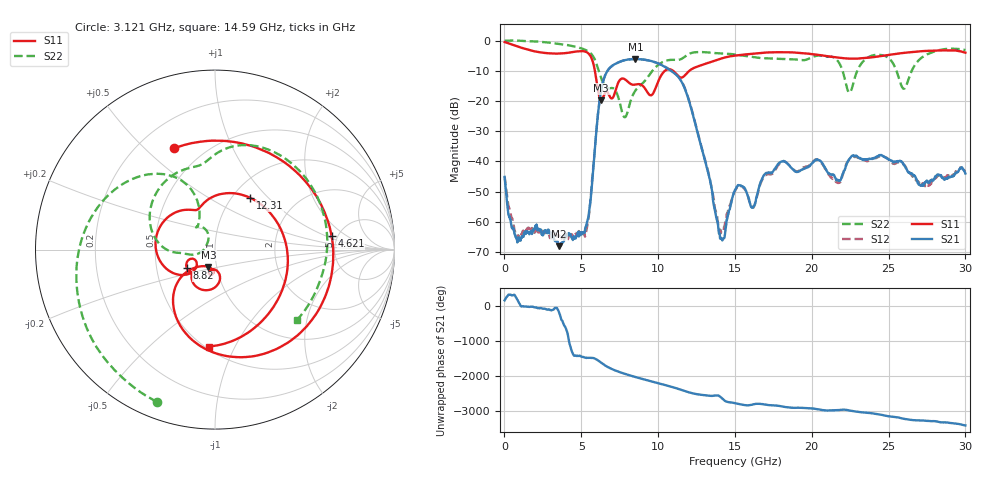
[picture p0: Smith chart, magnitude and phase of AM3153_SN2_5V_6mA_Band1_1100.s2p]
!Agilent Technologies,E8364B,MY43040894,A.07.50.67
!Agilent E8364B: A.07.50.67
!Date: Tuesday, May 12, 2020 09:46:20
!Correction: S11(Full 2 Port(1,2))
!S21(Full 2 Port(1,2))
!S12(Full 2 Port(1,2))
!S22(Full 2 Port(1,2))
!S2P File: Measurements: S11, S21, S12, S22:
# Hz S  dB  R 50
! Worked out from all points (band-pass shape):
!   1601 points, 10 MHz to 30 GHz, reference 50 ohm
!   highest |S21| = -6.12 dB at 8.52 GHz (marker M1); lowest = -68.1 dB at 3.553 GHz (marker M2)
!   |S21| within 3 dB of the highest: 6.847 GHz to 10.56 GHz (3.717 GHz wide, 42.7 % of centre)
!   lowest |S11| = -19.7 dB at 6.289 GHz (marker M3), VSWR 1.23, Z = 45.6 - j8.85 ohm
!   |S11| at or under -10 dB: 5.884 GHz to 10.45 GHz (4.57 GHz wide, 55.9 % of centre); 10.96 GHz to 12.04 GHz (1.076 GHz wide, 9.36 % of centre)
!   |S22| runs from -25.4 to 0.0 dB; largest |S21 - S12| = 0.0095
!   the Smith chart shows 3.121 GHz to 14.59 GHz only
!   S11 on the Smith chart (normalised r, x): 3.121 GHz: 0.34, +0.62; 4.621 GHz: 4.47, +1.16; 8.82 GHz: 0.71, -0.15; 12.31 GHz: 1.21, +0.79; 14.59 GHz: 0.52, -0.79
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1e7  -0.53 -8.1  -45.17 157.0  -44.99 -85.6  -0.05 -2.0
1.584475e9  -3.12 -148.0  -63.79 -29.3  -62.27 -32.8  -0.25 -56.4
3.121462e9  -4.31 112.2  -64.83 -113.8  -64.89 -92.9  -0.83 -111.0
3.552569e9  -4.32 84.4  -68.10 166.3  -64.73 16.4  -1.12 -126.5
4.620962e9  -3.69 6.5  -65.55 16.7  -63.72 -84.5  -2.05 -168.0
5.014581e9  -3.50 -28.8  -63.60 -15.5  -63.72 -25.0  -2.60 174.1
5.426944e9  -4.12 -74.0  -59.20 -46.4  -60.56 -24.5  -3.55 152.5
6.289156e9  -19.74 -111.1  -16.57 175.3  -16.54 175.5  -12.43 111.4
7.563731e9  -12.82 -99.5  -6.94 -103.9  -6.92 -103.7  -21.82 116.1
8.519662e9  -14.58 -136.7  -6.12 125.6  -6.15 125.9  -16.61 -169.6
8.819562e9  -14.49 -146.3  -6.20 88.8  -6.22 89.1  -14.97 -173.5
1.001916e10  -13.40 -139.2  -7.61 -53.1  -7.63 -52.0  -8.03 156.4
1.23059e10  -9.15 55.7  -25.34 13.6  -25.12 13.0  -3.97 60.9
1.406781e10  -6.04 -68.6  -65.21 -83.9  -63.83 26.8  -4.31 -19.7
1.459264e10  -5.33 -93.7  -57.05 128.1  -56.00 114.9  -4.42 -40.4
1.5005e10  -5.01 -110.9  -49.47 99.2  -49.91 96.2  -4.64 -58.0
1.802274e10  -3.89 149.8  -40.10 8.7  -40.28 10.3  -6.12 178.5
2.000958e10  -4.50 80.3  -40.65 -53.1  -40.47 -52.3  -5.57 43.6
2.137788e10  -5.45 22.8  -44.45 -103.9  -45.86 -107.9  -5.47 -80.8
2.246501e10  -5.99 -28.8  -39.12 -111.2  -39.18 -107.7  -17.23 -110.3
2.501416e10  -4.78 -140.9  -39.48 84.1  -39.34 87.3  -5.88 158.6
3e10  -4.03 80.6  -44.05 -179.2  -43.40 177.0  -3.14 94.4
